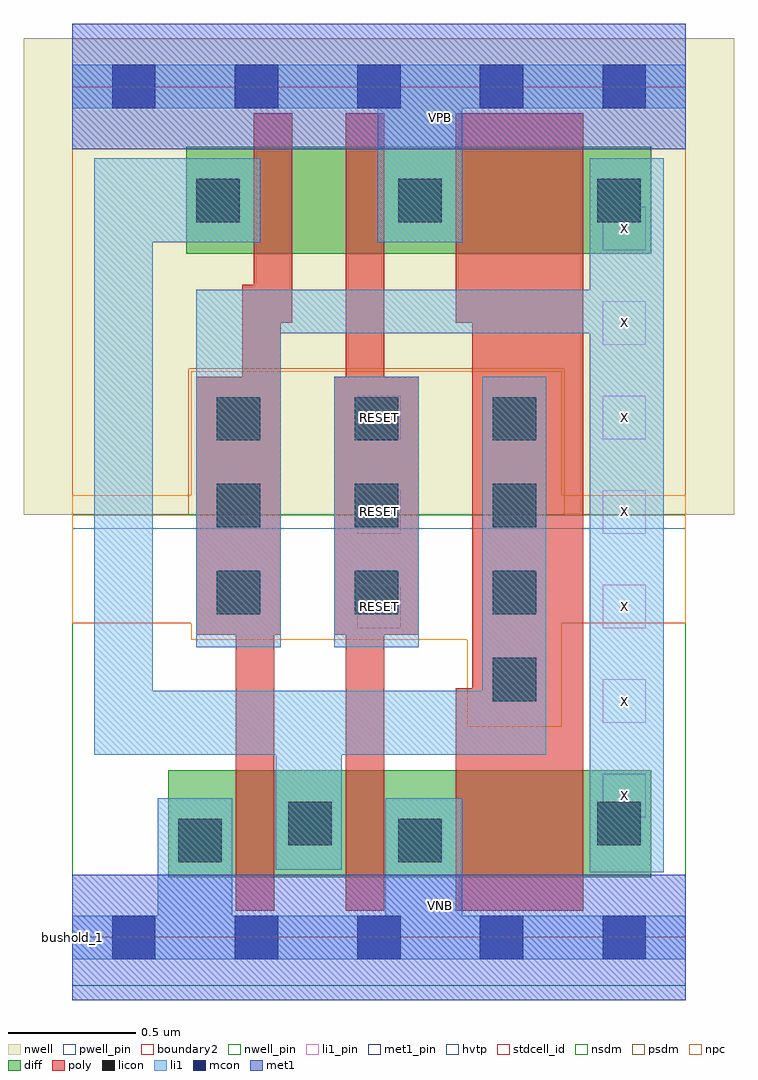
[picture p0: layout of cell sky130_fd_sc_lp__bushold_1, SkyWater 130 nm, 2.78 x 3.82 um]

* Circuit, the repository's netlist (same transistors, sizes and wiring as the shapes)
* Copyright 2020 The SkyWater PDK Authors
*
* Licensed under the Apache License, Version 2.0 (the "License");
* you may not use this file except in compliance with the License.
* You may obtain a copy of the License at
*
*     https://www.apache.org/licenses/LICENSE-2.0
*
* Unless required by applicable law or agreed to in writing, software
* distributed under the License is distributed on an "AS IS" BASIS,
* WITHOUT WARRANTIES OR CONDITIONS OF ANY KIND, either express or implied.
* See the License for the specific language governing permissions and
* limitations under the License.
*
* SPDX-License-Identifier: Apache-2.0

.SUBCKT sky130_fd_sc_lp__bushold_1 RESET VGND VNB VPB VPWR X
*.PININFO RESET:I VGND:I VNB:I VPB:I VPWR:I X:B
MMIN1 Ab X VGND VNB sky130_fd_pr__nfet_01v8 m=1 w=0.42U l=0.15U mult=1 sa=0.265
+ sb=0.265 sd=0.28 area=0.063 perim=1.14
MMIN2 X Ab VGND VNB sky130_fd_pr__nfet_01v8 m=1 w=0.42U l=0.5U mult=1 sa=0.265
+ sb=0.265 sd=0.28 area=0.063 perim=1.14
MI7 Ab RESET VGND VNB sky130_fd_pr__nfet_01v8 m=1 w=0.42U l=0.15U mult=1 sa=0.265
+ sb=0.265 sd=0.28 area=0.063 perim=1.14
MMIP1 Ab X net39 VPB sky130_fd_pr__pfet_01v8_hvt m=1 w=0.42U l=0.15U mult=1 sa=0.265
+ sb=0.265 sd=0.28 area=0.063 perim=1.14
MMIP2 X Ab VPWR VPB sky130_fd_pr__pfet_01v8_hvt m=1 w=0.42U l=0.5U mult=1 sa=0.265
+ sb=0.265 sd=0.28 area=0.063 perim=1.14
MI5 net39 RESET VPWR VPB sky130_fd_pr__pfet_01v8_hvt m=1 w=0.42U l=0.15U mult=1
+ sa=0.265 sb=0.265 sd=0.28 area=0.063 perim=1.14
.ENDS sky130_fd_sc_lp__bushold_1

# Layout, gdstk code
import gdstk
lib = gdstk.Library(unit=1e-6, precision=1e-09)
def R(c, l, rs):  # rectangles x0, y0, x1, y1
    for r in rs: c.add(gdstk.rectangle(r[:2], r[2:], *l))
def A(c, l, x, y, w, h, nx, ny, dx, dy):  # array of equal rectangles
    R(c, l, [(x+i*dx, y+j*dy, x+i*dx+w, y+j*dy+h) for i in range(nx) for j in range(ny)])
def P(c, l, *ps):  # polygons
    for p in ps: c.add(gdstk.Polygon(p, *l))
nwell_pin = (64, 16)
nwell = (64, 20)
diff = (65, 20)
poly = (66, 20)
licon = (66, 44)
li1_pin = (67, 16)
li1 = (67, 20)
mcon = (67, 44)
met1_pin = (68, 16)
met1 = (68, 20)
hvtp = (78, 44)
stdcell_id = (81, 4)
nsdm = (93, 44)
psdm = (94, 20)
npc = (95, 20)
pwell_pin = (122, 16)
boundary2 = (236, 0)

sky130_fd_sc_lp__bushold = lib.new_cell('sky130_fd_sc_lp__bushold_1')
R(sky130_fd_sc_lp__bushold, nwell_pin, [(0,3.085,2.4,3.33)])
R(sky130_fd_sc_lp__bushold, nwell, [(-0.19,1.655,2.59,3.52)])
R(sky130_fd_sc_lp__bushold, diff, [(0.375,0.235,2.265,0.655), (0.445,2.675,2.265,3.095)])
P(sky130_fd_sc_lp__bushold, poly, [(1.355,2.195),(1.22,2.195),(1.22,3.225),(1.07,3.225),(1.07,2.195),(1.025,2.195),(1.025,1.185),(1.07,1.185),(1.07,0.105),(1.22,0.105),(1.22,1.185),(1.355,1.185)],
  [(2,3.225),(1.5,3.225),(1.5,2.405),(1.565,2.405),(1.565,0.975),(1.5,0.975),(1.5,0.105),(2,0.105)],
  [(0.86,3.225),(0.71,3.225),(0.71,2.555),(0.665,2.555),(0.665,2.195),(0.485,2.195),(0.485,1.185),(0.64,1.185),(0.64,0.105),(0.79,0.105),(0.79,1.185),(0.815,1.185),(0.815,2.405),(0.86,2.405)])
A(sky130_fd_sc_lp__bushold, licon, 0.565, 1.265, 0.17, 0.17, 3, 3, 0.54, 0.34)
R(sky130_fd_sc_lp__bushold, licon, [(0.415,0.295,0.585,0.465), (1.275,0.295,1.445,0.465), (0.845,0.36,1.015,0.53), (2.055,0.36,2.225,0.53), (1.645,0.925,1.815,1.095), (0.485,2.8,0.655,2.97), (1.275,2.8,1.445,2.97), (2.055,2.8,2.225,2.97)])
A(sky130_fd_sc_lp__bushold, li1_pin, 2.075, 0.47, 0.17, 0.17, 1, 7, 0, 0.37)
A(sky130_fd_sc_lp__bushold, li1_pin, 1.115, 1.21, 0.17, 0.17, 1, 3, 0, 0.37)
R(sky130_fd_sc_lp__bushold, li1, [(1.025,1.135,1.355,2.195)])
P(sky130_fd_sc_lp__bushold, li1, [(1.855,2.195),(1.605,2.195),(1.605,0.965),(0.315,0.965),(0.315,2.72),(0.735,2.72),(0.735,3.05),(0.085,3.05),(0.085,0.715),(0.795,0.715),(0.795,0.265),(1.055,0.265),(1.055,0.715),(1.855,0.715)],
  [(2.315,3.05),(2.025,3.05),(2.025,2.535),(0.485,2.535),(0.485,1.135),(0.815,1.135),(0.815,2.365),(2.025,2.365),(2.025,0.255),(2.315,0.255)],
  [(2.4,0.085),(1.525,0.085),(1.525,0.545),(1.225,0.545),(1.225,0.085),(0.625,0.085),(0.625,0.545),(0.335,0.545),(0.335,0.085),(0,0.085),(0,-0.085),(2.4,-0.085)],
  [(2.4,3.415),(0,3.415),(0,3.245),(1.195,3.245),(1.195,2.72),(1.525,2.72),(1.525,3.245),(2.4,3.245)])
A(sky130_fd_sc_lp__bushold, mcon, 0.155, -0.085, 0.17, 0.17, 5, 2, 0.48, 3.33)
R(sky130_fd_sc_lp__bushold, met1_pin, [(0,0,2.4,0.245), (0,3.085,2.4,3.33)])
R(sky130_fd_sc_lp__bushold, met1, [(0,-0.245,2.4,0.245), (0,3.085,2.4,3.575)])
R(sky130_fd_sc_lp__bushold, hvtp, [(0,1.6,2.4,3.33)])
R(sky130_fd_sc_lp__bushold, stdcell_id, [(0,0,2.4,3.33)])
R(sky130_fd_sc_lp__bushold, nsdm, [(0,-0.19,2.4,1.655)])
P(sky130_fd_sc_lp__bushold, psdm, [(2.4,3.52),(0,3.52),(0,1.655),(0.455,1.655),(0.455,2.225),(1.925,2.225),(1.925,1.655),(2.4,1.655)])
P(sky130_fd_sc_lp__bushold, npc, [(2.4,1.73),(1.915,1.73),(1.915,2.215),(0.465,2.215),(0.465,1.73),(0,1.73),(0,1.23),(0.465,1.23),(0.465,1.165),(1.545,1.165),(1.545,0.825),(1.915,0.825),(1.915,1.23),(2.4,1.23)])
R(sky130_fd_sc_lp__bushold, pwell_pin, [(0,0,2.4,0.245)])
R(sky130_fd_sc_lp__bushold, boundary2, [(0,0,2.4,3.33)])
sky130_fd_sc_lp__bushold.add(gdstk.Label('VNB', (1.44,0.123), layer=64, texttype=59))
sky130_fd_sc_lp__bushold.add(gdstk.Label('VPB', (1.44,3.208), layer=64, texttype=5))
sky130_fd_sc_lp__bushold.add(gdstk.Label('bushold_1', (0,0), layer=83, texttype=44))
sky130_fd_sc_lp__bushold.add(gdstk.Label('VPWR', (1.44,3.208), layer=68, texttype=5))
sky130_fd_sc_lp__bushold.add(gdstk.Label('VGND', (1.44,0.123), layer=68, texttype=5))
sky130_fd_sc_lp__bushold.add(gdstk.Label('X', (2.16,0.555), layer=67, texttype=5))
sky130_fd_sc_lp__bushold.add(gdstk.Label('X', (2.16,0.925), layer=67, texttype=5))
sky130_fd_sc_lp__bushold.add(gdstk.Label('X', (2.16,1.295), layer=67, texttype=5))
sky130_fd_sc_lp__bushold.add(gdstk.Label('X', (2.16,1.665), layer=67, texttype=5))
sky130_fd_sc_lp__bushold.add(gdstk.Label('X', (2.16,2.035), layer=67, texttype=5))
sky130_fd_sc_lp__bushold.add(gdstk.Label('X', (2.16,2.405), layer=67, texttype=5))
sky130_fd_sc_lp__bushold.add(gdstk.Label('X', (2.16,2.775), layer=67, texttype=5))
sky130_fd_sc_lp__bushold.add(gdstk.Label('RESET', (1.2,1.295), layer=67, texttype=5))
sky130_fd_sc_lp__bushold.add(gdstk.Label('RESET', (1.2,1.665), layer=67, texttype=5))
sky130_fd_sc_lp__bushold.add(gdstk.Label('RESET', (1.2,2.035), layer=67, texttype=5))

lib.write_gds('sky130_fd_sc_lp__bushold_1.gds')
